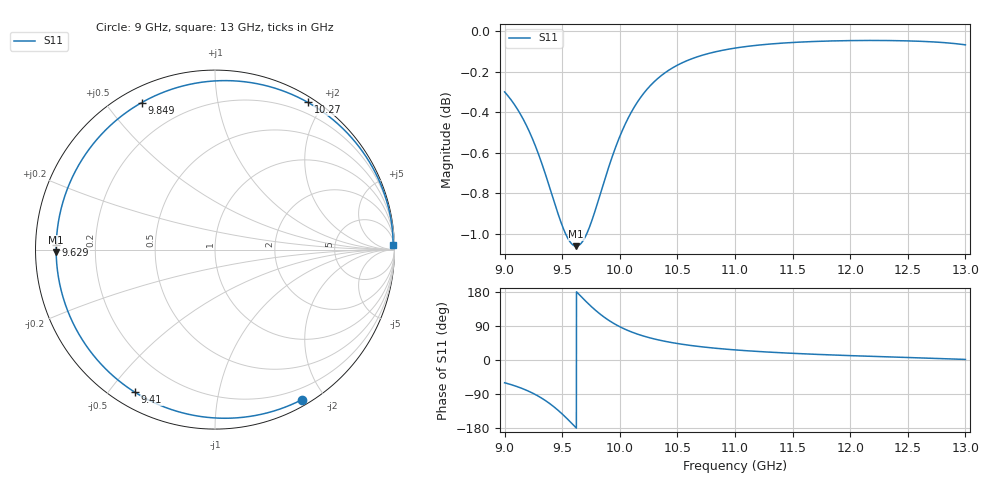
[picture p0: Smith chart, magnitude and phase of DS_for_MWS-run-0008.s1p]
! TOUCHSTONE file generated by CST DESIGN STUDIO
! Date and time: Tue Feb  4 17:15:00 2025
! Project name: C:\Work\MatlabApps\UnitCellOptimizationMatlab\CST\unitcell.cst
! Tree item: Tasks\Sweep1\SPara1\S-Parameters
! Header version: 2024
! Port assignment regex: !\s*Touchstone port\s*([0-9]+)\s*=\s*(CST MWS port|CST DES external port|CST DES block port)\s*(.+)\s* \(\"(.*)\"\)(\s*mode\s*([0-9]+))?.*
! Touchstone port assignment:
! Touchstone port 1 = CST DES external port 1 ("")
# GHz S MA R 50
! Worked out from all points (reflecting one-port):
!   4001 points, 9 GHz to 13 GHz, reference 50 ohm
!   lowest |S11| = -1.1 dB at 9.621 GHz (marker M1), VSWR 16.41, Z = 3.05 - j0.405 ohm
!   phase of S11 starts at -60 deg and turns -298 deg over the sweep
!   S11 on the Smith chart (normalised r, x): 9 GHz: 0.07, -1.73; 9.41 GHz: 0.06, -0.58; 9.629 GHz: 0.06, +0.01; 9.849 GHz: 0.06, +0.62; 10.27 GHz: 0.07, +1.81; 13 GHz: 21, +71
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9  0.9661 -60.0
9.055  0.9619 -64.9
9.128  0.955 -72.3
9.254  0.9389 -89.1
9.337  0.9252 -103.6
9.41  0.9115 -119.2
9.455  0.9031 -130.3
9.5  0.8955 -142.5
9.564  0.8876 -161.3
9.621  0.8851 -179.1
9.629  0.8852 178.4
9.685  0.8882 161.0
9.747  0.8964 142.7
9.798  0.9054 128.9
9.849  0.9153 116.5
9.919  0.9286 101.8
10  0.942 87.8
10.063  0.9507 78.8
10.128  0.9581 71.0
10.27  0.9699 57.7
10.378  0.976 50.2
10.5  0.9809 43.5
10.72  0.9865 34.5
11  0.9904 26.7
11.5  0.9936 17.6
12  0.9947 11.5
12.5  0.9945 6.6
13  0.9923 1.5
